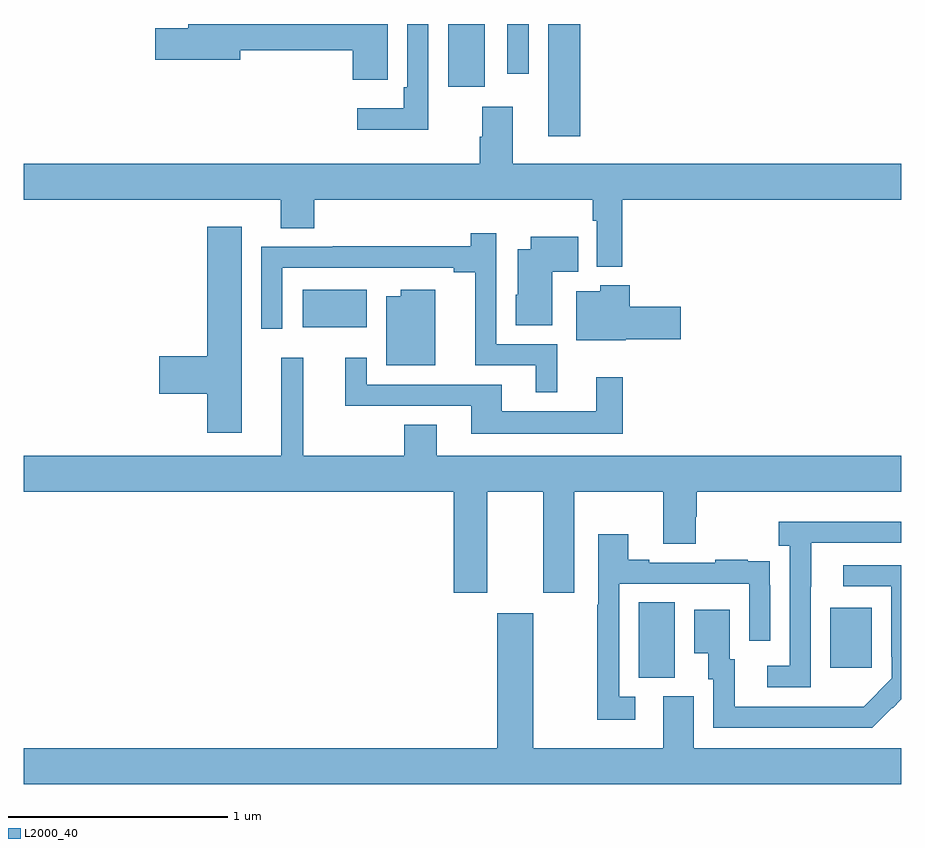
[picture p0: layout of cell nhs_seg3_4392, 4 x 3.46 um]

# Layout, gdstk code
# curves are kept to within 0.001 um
import gdstk
lib = gdstk.Library(unit=1e-6, precision=1e-09)
def R(c, l, rs):  # rectangles x0, y0, x1, y1
    for r in rs: c.add(gdstk.rectangle(r[:2], r[2:], *l))
def P(c, l, *ps):  # polygons
    for p in ps: c.add(gdstk.Polygon(p, *l))
L2000_40 = (2000, 40)

nhs_seg3_4392 = lib.new_cell('nhs_seg3_4392')
R(nhs_seg3_4392, L2000_40, [(347.804,681.421,347.968,681.764), (348.677,681.465,348.865,681.739), (346.271,683.018,346.564,683.188), (347.39,683.889,347.537,684.4), (346.934,684.114,347.101,684.4), (347.205,684.174,347.301,684.4)])
P(nhs_seg3_4392, L2000_40, [(346.659,684.259),(346.66,684.259),(346.66,684.4),(345.749,684.4),(345.749,684.38),(345.6,684.38),(345.6,684.238),(345.988,684.238),(345.988,684.28),(346.499,684.28),(346.499,684.147),(346.659,684.147)],
  [(346.845,684.4),(346.749,684.4),(346.749,684.112),(346.733,684.112),(346.733,684.016),(346.521,684.016),(346.521,683.918),(346.845,683.918)],
  [(347.729,683.6),(349,683.6),(349,683.764),(347.23,683.764),(347.23,684.022),(347.09,684.022),(347.09,683.885),(347.078,683.885),(347.078,683.764),(345,683.764),(345,683.6),(346.172,683.6),(346.172,683.47),(346.325,683.47),(346.325,683.6),(347.593,683.6),(347.593,683.504),(347.613,683.504),(347.613,683.294),(347.729,683.294)],
  [(345.994,683.476),(345.836,683.476),(345.836,682.886),(345.618,682.886),(345.618,682.715),(345.836,682.715),(345.836,682.536),(345.994,682.536)],
  [(347.431,682.941),(347.154,682.941),(347.154,683.446),(347.038,683.446),(347.038,683.387),(346.408,683.387),(346.408,683.385),(346.083,683.385),(346.083,683.01),(346.179,683.01),(346.179,683.289),(346.961,683.289),(346.961,683.269),(347.057,683.269),(347.057,682.845),(347.333,682.845),(347.333,682.721),(347.431,682.721)],
  [(347.41,683.27),(347.528,683.27),(347.528,683.431),(347.312,683.431),(347.312,683.374),(347.252,683.374),(347.252,683.166),(347.243,683.166),(347.243,683.026),(347.41,683.026)],
  [(347.745,682.964),(347.995,682.964),(347.995,683.111),(347.762,683.111),(347.762,683.209),(347.628,683.209),(347.628,683.182),(347.519,683.182),(347.519,682.958),(347.745,682.958)],
  [(346.876,683.188),(346.718,683.188),(346.718,683.158),(346.652,683.158),(346.652,682.844),(346.876,682.844)],
  [(347.731,682.789),(347.609,682.789),(347.609,682.636),(347.179,682.636),(347.179,682.755),(346.563,682.755),(346.563,682.879),(346.466,682.879),(346.466,682.659),(347.039,682.659),(347.039,682.532),(347.731,682.532)],
  [(347.113,682.268),(347.369,682.268),(347.369,681.807),(347.509,681.807),(347.509,682.268),(347.915,682.268),(347.915,682.03),(348.063,682.03),(348.063,682.155),(348.068,682.155),(348.068,682.268),(349,682.268),(349,682.432),(346.882,682.432),(346.882,682.574),(346.735,682.574),(346.735,682.432),(346.274,682.432),(346.274,682.879),(346.175,682.879),(346.175,682.432),(345,682.432),(345,682.268),(346.961,682.268),(346.961,681.807),(347.113,681.807)],
  [(348.588,681.835),(348.589,681.835),(348.589,682.035),(349,682.035),(349,682.132),(348.441,682.132),(348.441,682.022),(348.492,682.022),(348.492,681.474),(348.39,681.474),(348.39,681.378),(348.588,681.378)],
  [(347.788,681.333),(347.715,681.333),(347.715,681.849),(348.306,681.849),(348.306,681.588),(348.402,681.588),(348.402,681.842),(348.401,681.842),(348.401,681.951),(348.299,681.951),(348.299,681.958),(348.151,681.958),(348.151,681.945),(347.851,681.945),(347.851,681.958),(347.755,681.958),(347.755,682.075),(347.619,682.075),(347.619,681.752),(347.614,681.752),(347.614,681.228),(347.788,681.228)],
  [(348.959,681.283),(348.96,681.282),(349,681.322),(349,681.933),(348.735,681.933),(348.735,681.837),(348.954,681.837),(348.954,681.517),(348.957,681.517),(348.957,681.417),(348.829,681.289),(348.241,681.288),(348.241,681.504),(348.217,681.504),(348.217,681.73),(348.056,681.73),(348.056,681.533),(348.119,681.533),(348.119,681.414),(348.144,681.414),(348.144,681.192),(348.868,681.192)],
  [(349,681.1),(348.055,681.1),(348.055,681.336),(347.915,681.336),(347.915,681.1),(347.323,681.1),(347.323,681.715),(347.159,681.715),(347.159,681.1),(345,681.1),(345,680.936),(349,680.936)])

lib.write_gds('nhs_seg3_4392.gds')
